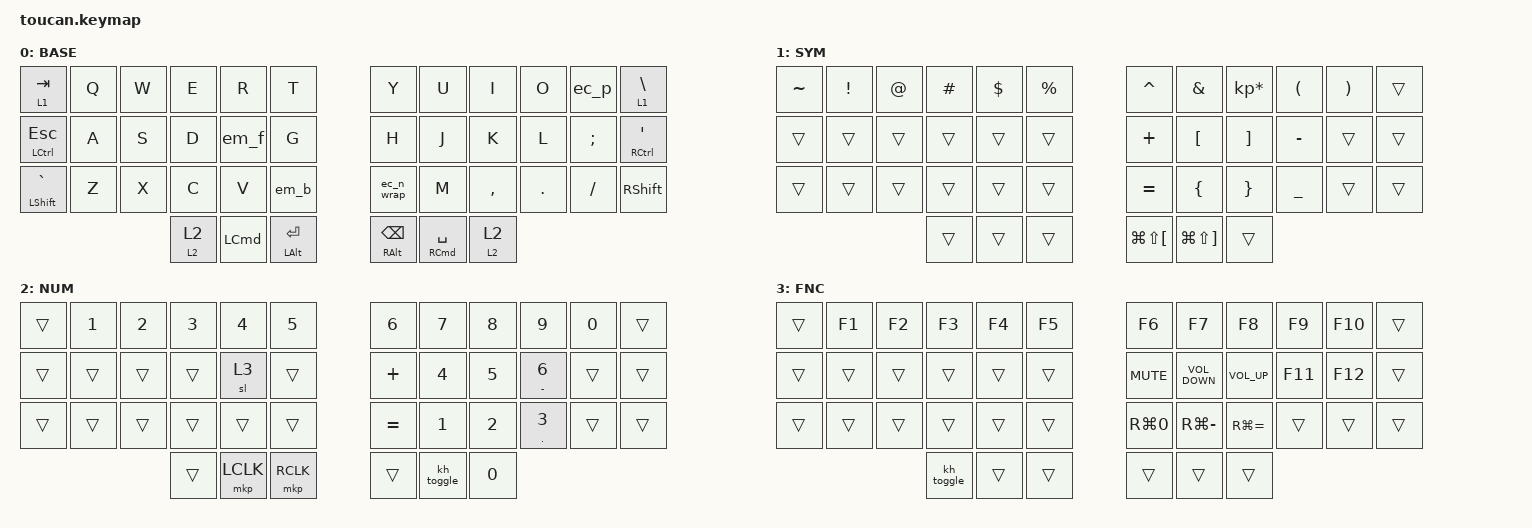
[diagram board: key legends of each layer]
#include <behaviors.dtsi>
#include <dt-bindings/zmk/keys.h>
#include <dt-bindings/zmk/pointing.h>

#define BASE 0
#define SYM  1
#define NUM  2
#define FNC  3

&mt {
    tapping-term-ms = <200>;
    quick-tap-ms = <175>;
    flavor = "tap-preferred";
};

/ {
    behaviors {
        mo_tog: mo_tog {
            compatible = "zmk,behavior-hold-tap";
            #binding-cells = <2>;
            flavor = "hold-preferred";
            tapping-term-ms = <200>;
            bindings = <&mo>, <&tog>;
        };

        ec_f: ec_f {
            compatible = "zmk,behavior-mod-morph";
            #binding-cells = <0>;
            bindings = <&mt LS(LA(LC(LEFT_COMMAND))) F>, <&kp RIGHT>;
            mods = <(MOD_LCTL|MOD_RCTL)>;
        };
        ec_b: ec_b {
            compatible = "zmk,behavior-mod-morph";
            #binding-cells = <0>;
            bindings = <&kp B>, <&kp LEFT>;
            mods = <(MOD_LCTL|MOD_RCTL)>;
        };
        ec_n: ec_n {
            compatible = "zmk,behavior-mod-morph";
            #binding-cells = <0>;
            bindings = <&kp N>, <&kp DOWN>;
            mods = <(MOD_LCTL|MOD_RCTL)>;
        };
        ec_n_wrap: ec_n_wrap {
            compatible = "zmk,behavior-mod-morph";
            #binding-cells = <0>;
            bindings = <&ec_n>, <&kp N>;
            mods = <(MOD_LSFT|MOD_RSFT)>;
            keep-mods = <(MOD_LSFT|MOD_RSFT|MOD_LALT|MOD_RALT|MOD_LGUI|MOD_RGUI|MOD_LCTL|MOD_RCTL)>;
        };
        ec_p: ec_p {
            compatible = "zmk,behavior-mod-morph";
            #binding-cells = <0>;
            bindings = <&kp P>, <&kp UP>;
            mods = <(MOD_LCTL|MOD_RCTL)>;
        };
        em_f: em_f {
            compatible = "zmk,behavior-mod-morph";
            #binding-cells = <0>;
            bindings = <&ec_f>, <&kp LA(RIGHT)>;
            mods = <(MOD_LALT|MOD_RALT)>;
        };
        em_b: em_b {
            compatible = "zmk,behavior-mod-morph";
            #binding-cells = <0>;
            bindings = <&ec_b>, <&kp LA(LEFT)>;
            mods = <(MOD_LALT|MOD_RALT)>;
        };

        kh_toggle: kh_toggle {
            compatible = "zmk,key-history-toggle";
            label = "KH_TOGGLE";
            #binding-cells = <0>;
        };
    };

    conditional_layers { compatible = "zmk,conditional-layers"; };

    keymap {
        compatible = "zmk,keymap";

        base {
            display-name = "BASE";
            bindings = <
&lt 1 TAB         &kp Q             &kp W               &kp E                    &kp R                           &kp T   &kp Y  &kp U  &kp I      &kp O    &ec_p     &lt 1 BACKSLASH
&mt LCTRL ESCAPE  &kp A             &kp S               &kp D                    &em_f                           &kp G   &kp H  &kp J  &kp K      &kp L    &kp SEMI  &mt RCTRL SINGLE_QUOTE
&mt LSHFT GRAVE   &kp Z             &kp X               &kp C                    &kp V                           &em_b   &ec_n_wrap  &kp M  &kp COMMA  &kp DOT  &kp FSLH  &kp RIGHT_SHIFT
&mo_tog 2 2       &kp LEFT_COMMAND  &mt LEFT_ALT ENTER  &mt RIGHT_ALT BACKSPACE  &mt RIGHT_COMMAND SPACE         &mo_tog 2 2
            >;
        };

        sym {
            display-name = "SYM";
            bindings = <
&kp TILDE  &kp EXCL  &kp AT  &kp HASH                  &kp DLLR                   &kp PRCNT  &kp CARET  &kp AMPS          &kp KP_MULTIPLY    &kp LPAR        &kp RPAR  &trans
&trans     &trans    &trans  &trans                    &trans                     &trans     &kp PLUS   &kp LEFT_BRACKET  &kp RIGHT_BRACKET  &kp MINUS       &trans    &trans
&trans     &trans    &trans  &trans                    &trans                     &trans     &kp EQUAL  &kp LEFT_BRACE    &kp RIGHT_BRACE    &kp UNDERSCORE  &trans    &trans
&trans     &trans    &trans  &kp LG(LS(LEFT_BRACKET))  &kp LG(LS(RIGHT_BRACKET))  &trans
            >;
        };

        num {
            display-name = "NUM";
            bindings = <
&trans       &kp NUMBER_1  &kp NUMBER_2  &kp NUMBER_3  &kp NUMBER_4  &kp NUMBER_5  &kp NUMBER_6  &kp NUMBER_7  &kp NUMBER_8  &kp NUMBER_9         &kp NUMBER_0  &trans
&trans       &trans        &trans        &trans        &sl 3         &trans        &kp PLUS      &kp NUMBER_4  &kp NUMBER_5  &mt MINUS NUMBER_6   &trans        &trans
&trans       &trans        &trans        &trans        &trans        &trans        &kp EQUAL     &kp NUMBER_1  &kp NUMBER_2  &mt PERIOD NUMBER_3  &trans        &trans
&trans        &mkp LCLK     &mkp RCLK     &trans        &kh_toggle    &kp NUMBER_0
            >;
        };

        fnc {
            display-name = "FNC";
            bindings = <
&trans  &kp F1  &kp F2  &kp F3  &kp F4  &kp F5  &kp F6            &kp F7             &kp F8           &kp F9   &kp F10  &trans
&trans  &trans  &trans  &trans  &trans  &trans  &kp K_MUTE        &kp C_VOLUME_DOWN  &kp C_VOLUME_UP  &kp F11  &kp F12  &trans
&trans  &trans  &trans  &trans  &trans  &trans  &kp RG(NUMBER_0)  &kp RG(MINUS)      &kp RG(EQUAL)    &trans   &trans   &trans
&kh_toggle  &trans  &trans  &trans  &trans  &trans
            >;
        };

        extra_1 { status = "reserved"; };

        extra_2 { status = "reserved"; };

        extra_3 { status = "reserved"; };
    };
};
